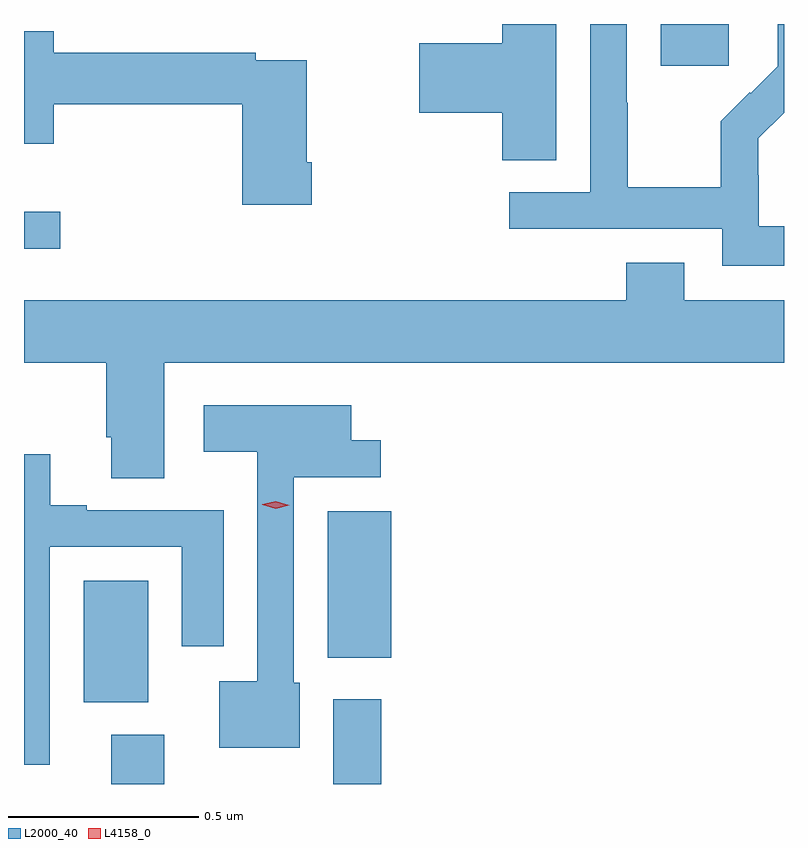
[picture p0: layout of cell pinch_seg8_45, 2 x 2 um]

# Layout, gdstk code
import gdstk
lib = gdstk.Library(unit=1e-6, precision=1e-09)
def R(c, l, rs):  # rectangles x0, y0, x1, y1
    for r in rs: c.add(gdstk.rectangle(r[:2], r[2:], *l))
def P(c, l, *ps):  # polygons
    for p in ps: c.add(gdstk.Polygon(p, *l))
L2000_40 = (2000, 40)
L4158_0 = (4158, 0)

pinch_seg8_45 = lib.new_cell('pinch_seg8_45')
R(pinch_seg8_45, L2000_40, [(900.695,1158.015,900.835,1158.145), (901.28,1158.015,901.406,1158.238), (900.623,1158.23,900.793,1158.55), (901.265,1158.347,901.432,1158.733), (900.466,1159.424,900.562,1159.521), (902.141,1159.905,902.32,1160.015)])
P(pinch_seg8_45, L2000_40, [(902.466,1159.483),(902.4,1159.483),(902.4,1159.617),(902.398,1159.617),(902.398,1159.714),(902.466,1159.782),(902.466,1160.015),(902.45,1160.015),(902.45,1159.904),(902.379,1159.833),(902.376,1159.836),(902.299,1159.759),(902.299,1159.585),(902.055,1159.585),(902.055,1159.808),(902.052,1159.808),(902.052,1160.015),(901.956,1160.015),(901.956,1159.572),(901.743,1159.572),(901.743,1159.476),(902.304,1159.476),(902.304,1159.379),(902.466,1159.379)],
  [(901.867,1160.015),(901.724,1160.015),(901.724,1159.964),(901.506,1159.964),(901.506,1159.781),(901.724,1159.781),(901.724,1159.657),(901.867,1159.657)],
  [(901.223,1159.651),(901.21,1159.651),(901.21,1159.92),(901.076,1159.92),(901.076,1159.94),(900.544,1159.94),(900.544,1159.996),(900.466,1159.996),(900.466,1159.7),(900.544,1159.7),(900.544,1159.804),(901.04,1159.804),(901.04,1159.539),(901.223,1159.539)],
  [(900.835,1159.124),(902.466,1159.124),(902.466,1159.288),(902.203,1159.288),(902.203,1159.387),(902.051,1159.387),(902.051,1159.288),(900.466,1159.288),(900.466,1159.124),(900.683,1159.124),(900.683,1158.928),(900.695,1158.928),(900.695,1158.82),(900.835,1158.82)],
  [(901.192,1158.282),(901.176,1158.282),(901.176,1158.822),(901.405,1158.822),(901.405,1158.92),(901.327,1158.92),(901.327,1159.012),(900.939,1159.012),(900.939,1158.89),(901.08,1158.89),(901.08,1158.286),(900.98,1158.286),(900.98,1158.11),(901.192,1158.11)],
  [(900.534,1158.639),(900.881,1158.639),(900.881,1158.378),(900.991,1158.378),(900.991,1158.735),(900.631,1158.735),(900.631,1158.748),(900.535,1158.748),(900.535,1158.883),(900.466,1158.883),(900.466,1158.066),(900.534,1158.066)])
P(pinch_seg8_45, L4158_0, [(901.128,1158.739),(901.093,1158.75),(901.093,1158.751),(901.093,1158.751),(901.129,1158.759),(901.164,1158.748),(901.164,1158.748),(901.164,1158.748)])

lib.write_gds('pinch_seg8_45.gds')
